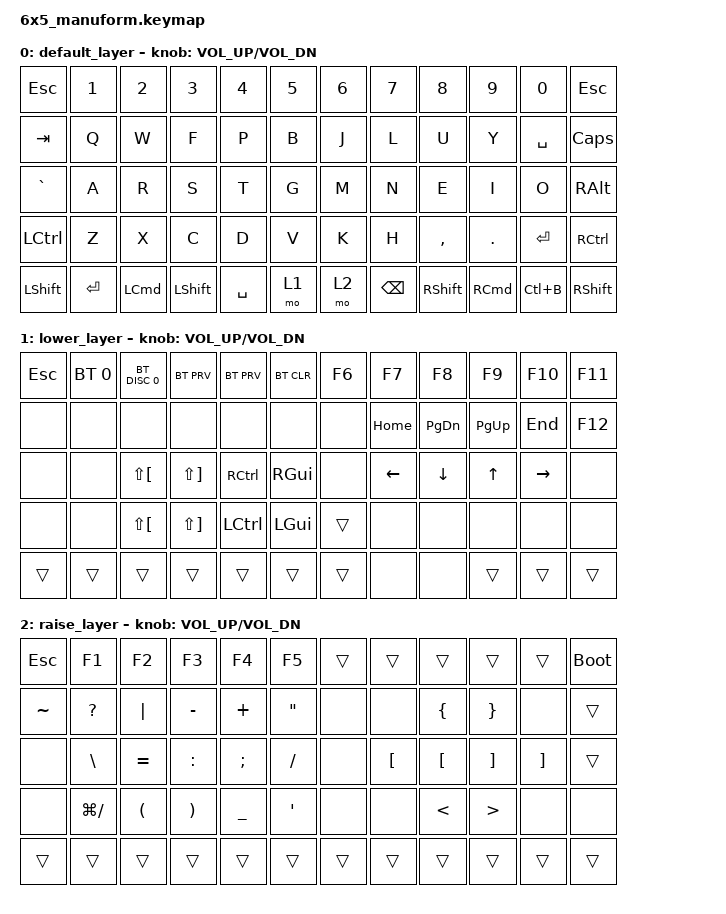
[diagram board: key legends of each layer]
/*
 * Copyright (c) 2020 The ZMK Contributors
 *
 * SPDX-License-Identifier: MIT
 */

#include <behaviors.dtsi>
#include <dt-bindings/zmk/bt.h>
#include <dt-bindings/zmk/keys.h>

/ {
    keymap {
        compatible = "zmk,keymap";

        default_layer {
            // ------------------------------------------------------------------------------------------------------------
            // |  ESC   |  1  |  2  |  3   |  4   |  5   |                    |  6   |  7    |  8    |  9   |   0   |   `   |
            // |  TAB   |  Q  |  W  |  E   |  R   |  T   |                    |  Y   |  U    |  I    |  O   |   P   |   -   |
            // |  CTRL  |  A  |  S  |  D   |  F   |  G   |                    |  H   |  J    |  K    |  L   |   ;   |   '   |
            // | SHIFT  |  Z  |  X  |  C   |  V   |  B   |                    |  N   |  M    |  ,    |  .   |   /   | SHIFT |
            // |    2   |  2  | f   | 6    | 4    | 1    |                    | 2    | 1     | w     | s    | n     |  a    |

            bindings = <
&kp ESC           &kp N1     &kp N2            &kp N3          &kp N4     &kp N5  &kp N6  &kp N7         &kp N8           &kp N9             &kp N0     &kp ESC
&kp TAB           &kp Q      &kp W             &kp F           &kp P      &kp B   &kp J   &kp L          &kp U            &kp Y              &kp SPACE  &kp CAPSLOCK
&kp GRAVE         &kp A      &kp R             &kp S           &kp T      &kp G   &kp M   &kp N          &kp E            &kp I              &kp O      &kp RIGHT_ALT
&kp LEFT_CONTROL  &kp Z      &kp X             &kp C           &kp D      &kp V   &kp K   &kp H          &kp COMMA        &kp DOT            &kp ENTER  &kp RIGHT_CONTROL
&kp LEFT_SHIFT    &kp ENTER  &kp LEFT_COMMAND  &kp LEFT_SHIFT  &kp SPACE  &mo 1   &mo 2   &kp BACKSPACE  &kp RIGHT_SHIFT  &kp RIGHT_COMMAND  &kp LC(B)  &kp RIGHT_SHIFT
            >;

            sensor-bindings = <&inc_dec_kp C_VOL_UP C_VOL_DN>;
        };

        lower_layer {
            // ------------------------------------------------------------------------------------------------------------
            // | BTCLR | BT1 | BT2 |  BT3 |  BT4 |  BT5 |                   |      |       |       |      |       |       |
            // |  F1   |  F2 |  F3 |  F4  |  F5  |  F6  |                   |  F7  |  F8   |  F9   |  F10 |  F11  |  F12  |
            // |   `   |  !  |  @  |  #   |  $   |  %   |                   |  ^   |  &    |  *    |  (   |   )   |   ~   |
            // |       |     |     |      |      |      |                   |      |  _    |  +    |  {   |   }   |  "|"  |
            // |       |     |     |      |      |      |                   |      |       |       |      |       |       |

            bindings = <
&kp ESC  &bt BT_SEL 0  &bt BT_DISC 0         &bt BT_PRV             &bt BT_PRV         &bt BT_CLR     &kp F6  &kp F7          &kp F8          &kp F9        &kp F10          &kp F11
&none    &none         &none                 &none                  &none              &none          &none   &kp HOME        &kp PAGE_DOWN   &kp PAGE_UP   &kp END          &kp F12
&none    &none         &kp LS(LEFT_BRACKET)  &kp LS(RIGHT_BRACKET)  &kp RIGHT_CONTROL  &kp RIGHT_GUI  &none   &kp LEFT_ARROW  &kp DOWN_ARROW  &kp UP_ARROW  &kp RIGHT_ARROW  &none
&none    &none         &kp LS(LEFT_BRACKET)  &kp LS(RIGHT_BRACKET)  &kp LEFT_CONTROL   &kp LEFT_GUI   &trans  &none           &none           &none         &none            &none
&trans   &trans        &trans                &trans                 &trans             &trans         &trans  &none           &none           &trans        &trans           &trans
            >;

            sensor-bindings = <&inc_dec_kp C_VOL_UP C_VOL_DN>;
        };

        raise_layer {
            // ------------------------------------------------------------------------------------------------------------
            // |       |     |     |      |      |      |                   |      |       |       |      |       |       |
            // |   `   |  1  |  2  |  3   |  4   |  5   |                   |  6   |   7   |   8   |  9   |   0   |       |
            // |   F1  |  F2 |  F3 |  F4  |  F5  |  F6  |                   |      |   <-  |   v   |  ^   |  ->   |       |
            // |   F7  |  F8 |  F9 |  F10 |  F11 |  F12 |		             |  +   |   -   |   =   |  [   |   ]   |   \   |
            // |     |     |      |      |      |        |                   |       |      |       |       |      |       |

            bindings = <
&kp ESC    &kp F1         &kp F2                &kp F3                 &kp F4          &kp F5             &trans  &trans            &trans            &trans             &trans             &bootloader
&kp TILDE  &kp QUESTION   &kp PIPE              &kp MINUS              &kp PLUS        &kp DOUBLE_QUOTES  &none   &none             &kp LEFT_BRACE    &kp RIGHT_BRACE    &none              &trans
&none      &kp BACKSLASH  &kp EQUAL             &kp COLON              &kp SEMICOLON   &kp SLASH          &none   &kp LEFT_BRACKET  &kp LEFT_BRACKET  &kp RIGHT_BRACKET  &kp RIGHT_BRACKET  &trans
&none      &kp LG(SLASH)  &kp LEFT_PARENTHESIS  &kp RIGHT_PARENTHESIS  &kp UNDERSCORE  &kp SINGLE_QUOTE   &none   &none             &kp LESS_THAN     &kp GREATER_THAN   &none              &none
&trans     &trans         &trans                &trans                 &trans          &trans             &trans  &trans            &trans            &trans             &trans             &trans
            >;

            sensor-bindings = <&inc_dec_kp C_VOL_UP C_VOL_DN>;
        };
    };
};
